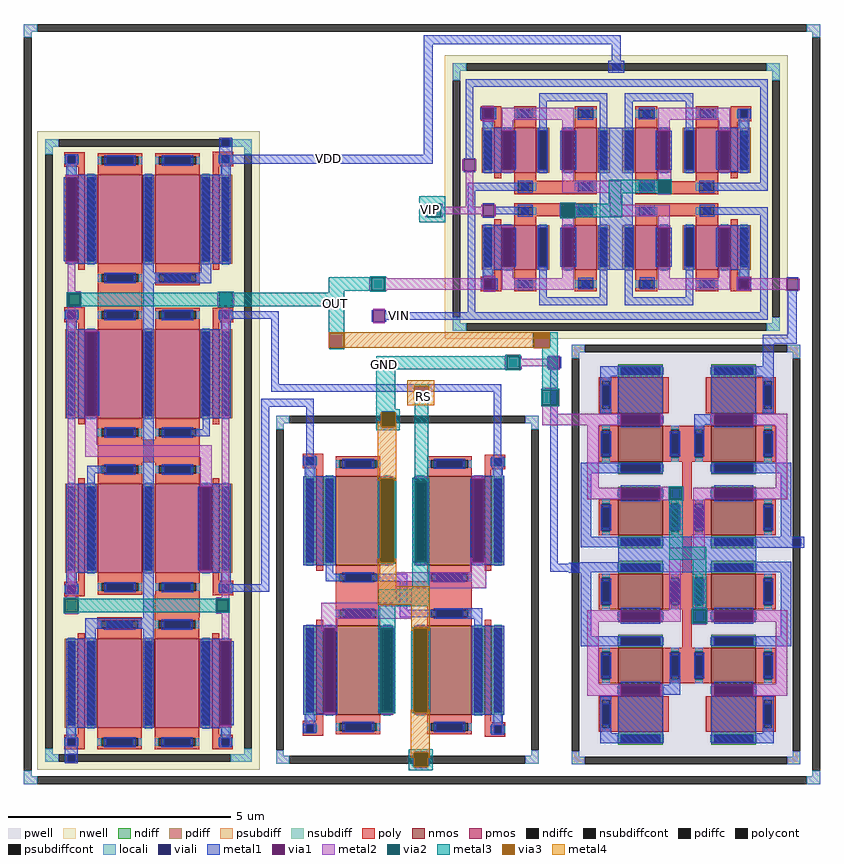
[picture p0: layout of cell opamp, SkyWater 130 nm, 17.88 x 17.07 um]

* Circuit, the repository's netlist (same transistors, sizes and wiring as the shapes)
* NGSPICE file created from opamp.ext - technology: sky130A

.subckt sky130_fd_pr__pfet_01v8_2ZH9AN a_15_n200# a_n15_n226# a_n73_n200# w_n109_n262#
X0 a_15_n200# a_n15_n226# a_n73_n200# w_n109_n262# sky130_fd_pr__pfet_01v8 ad=0.58 pd=4.58 as=0.58 ps=4.58 w=2 l=0.15
.ends

.subckt sky130_fd_pr__pfet_01v8_SDE6B7 a_29_n297# a_n287_n200# a_n229_n297# a_229_n200#
+ a_n29_n200# w_n323_n300#
X0 a_229_n200# a_29_n297# a_n29_n200# w_n323_n300# sky130_fd_pr__pfet_01v8 ad=0.58 pd=4.58 as=0.29 ps=2.29 w=2 l=1
X1 a_n29_n200# a_n229_n297# a_n287_n200# w_n323_n300# sky130_fd_pr__pfet_01v8 ad=0.29 pd=2.29 as=0.58 ps=4.58 w=2 l=1
.ends

.subckt pmoscs vdd d1 d2 d5
Xsky130_fd_pr__pfet_01v8_2ZH9AN_0 d1 d1 d1 vdd sky130_fd_pr__pfet_01v8_2ZH9AN
Xsky130_fd_pr__pfet_01v8_2ZH9AN_1 vdd vdd vdd vdd sky130_fd_pr__pfet_01v8_2ZH9AN
Xsky130_fd_pr__pfet_01v8_2ZH9AN_2 d5 d5 d5 vdd sky130_fd_pr__pfet_01v8_2ZH9AN
Xsky130_fd_pr__pfet_01v8_2ZH9AN_3 d2 d2 d2 vdd sky130_fd_pr__pfet_01v8_2ZH9AN
Xsky130_fd_pr__pfet_01v8_2ZH9AN_4 d1 d1 d1 vdd sky130_fd_pr__pfet_01v8_2ZH9AN
Xsky130_fd_pr__pfet_01v8_2ZH9AN_5 d2 d2 d2 vdd sky130_fd_pr__pfet_01v8_2ZH9AN
Xsky130_fd_pr__pfet_01v8_2ZH9AN_6 vdd vdd vdd vdd sky130_fd_pr__pfet_01v8_2ZH9AN
Xsky130_fd_pr__pfet_01v8_2ZH9AN_7 d5 d5 d5 vdd sky130_fd_pr__pfet_01v8_2ZH9AN
Xsky130_fd_pr__pfet_01v8_SDE6B7_0 vdd d5 d2 vdd vdd vdd sky130_fd_pr__pfet_01v8_SDE6B7
Xsky130_fd_pr__pfet_01v8_SDE6B7_1 d2 d1 d2 d2 vdd vdd sky130_fd_pr__pfet_01v8_SDE6B7
Xsky130_fd_pr__pfet_01v8_SDE6B7_2 d2 d2 d2 d1 vdd vdd sky130_fd_pr__pfet_01v8_SDE6B7
Xsky130_fd_pr__pfet_01v8_SDE6B7_3 d2 vdd vdd d5 vdd vdd sky130_fd_pr__pfet_01v8_SDE6B7
.ends

.subckt sky130_fd_pr__nfet_01v8_ENL4VF a_n80_n126# a_n138_n100# a_80_n100# VSUBS
X0 a_80_n100# a_n80_n126# a_n138_n100# VSUBS sky130_fd_pr__nfet_01v8 ad=0.29 pd=2.58 as=0.29 ps=2.58 w=1 l=0.8
.ends

.subckt sky130_fd_pr__nfet_01v8_9C8FNP a_n304_109# a_n578_21# a_n418_109# a_246_109#
+ a_28_109# a_578_n309# a_360_109# a_n636_109# a_86_21# a_578_109# a_418_21# a_n246_21#
+ a_n86_n309# a_86_n397# a_n246_n397# a_360_n309# a_n86_109# a_n304_n309# a_n418_n309#
+ a_418_n397# a_28_n309# a_n578_n397# a_246_n309# a_n636_n309# VSUBS
X0 a_246_109# a_86_21# a_28_109# VSUBS sky130_fd_pr__nfet_01v8 ad=0.29 pd=2.58 as=0.29 ps=2.58 w=1 l=0.8
X1 a_578_n309# a_418_n397# a_360_n309# VSUBS sky130_fd_pr__nfet_01v8 ad=0.29 pd=2.58 as=0.29 ps=2.58 w=1 l=0.8
X2 a_246_n309# a_86_n397# a_28_n309# VSUBS sky130_fd_pr__nfet_01v8 ad=0.29 pd=2.58 as=0.29 ps=2.58 w=1 l=0.8
X3 a_n418_n309# a_n578_n397# a_n636_n309# VSUBS sky130_fd_pr__nfet_01v8 ad=0.29 pd=2.58 as=0.29 ps=2.58 w=1 l=0.8
X4 a_n86_n309# a_n246_n397# a_n304_n309# VSUBS sky130_fd_pr__nfet_01v8 ad=0.29 pd=2.58 as=0.29 ps=2.58 w=1 l=0.8
X5 a_578_109# a_418_21# a_360_109# VSUBS sky130_fd_pr__nfet_01v8 ad=0.29 pd=2.58 as=0.29 ps=2.58 w=1 l=0.8
X6 a_n418_109# a_n578_21# a_n636_109# VSUBS sky130_fd_pr__nfet_01v8 ad=0.29 pd=2.58 as=0.29 ps=2.58 w=1 l=0.8
X7 a_n86_109# a_n246_21# a_n304_109# VSUBS sky130_fd_pr__nfet_01v8 ad=0.29 pd=2.58 as=0.29 ps=2.58 w=1 l=0.8
.ends

.subckt lnmos gnd out d8
Xsky130_fd_pr__nfet_01v8_ENL4VF_0 d8 d8 d8 gnd sky130_fd_pr__nfet_01v8_ENL4VF
Xsky130_fd_pr__nfet_01v8_ENL4VF_1 out out out gnd sky130_fd_pr__nfet_01v8_ENL4VF
Xsky130_fd_pr__nfet_01v8_ENL4VF_3 out out out gnd sky130_fd_pr__nfet_01v8_ENL4VF
Xsky130_fd_pr__nfet_01v8_ENL4VF_4 d8 d8 d8 gnd sky130_fd_pr__nfet_01v8_ENL4VF
Xsky130_fd_pr__nfet_01v8_9C8FNP_0 d8 d8 gnd out gnd d8 gnd d8 d8 out d8 d8 gnd d8
+ d8 gnd gnd out gnd d8 gnd d8 d8 out gnd sky130_fd_pr__nfet_01v8_9C8FNP
.ends

.subckt sky130_fd_pr__pfet_01v8_V8A8AU a_n86_n318# a_n86_118# a_358_n415# a_300_n318#
+ a_n244_n318# a_n458_n415# a_86_21# w_n552_n418# a_28_n318# a_n358_n318# a_n458_21#
+ a_186_n318# a_300_118# a_n516_n318# a_358_21# a_n186_21# a_28_118# a_458_n318# a_86_n415#
+ a_n186_n415# a_n244_118# a_n516_118# w_n552_18# a_n358_118# a_458_118# a_186_118#
X0 a_458_118# a_358_21# a_300_118# w_n552_18# sky130_fd_pr__pfet_01v8 ad=0.29 pd=2.58 as=0.29 ps=2.58 w=1 l=0.5
X1 a_186_118# a_86_21# a_28_118# w_n552_18# sky130_fd_pr__pfet_01v8 ad=0.29 pd=2.58 as=0.29 ps=2.58 w=1 l=0.5
X2 a_n358_n318# a_n458_n415# a_n516_n318# w_n552_n418# sky130_fd_pr__pfet_01v8 ad=0.29 pd=2.58 as=0.29 ps=2.58 w=1 l=0.5
X3 a_n86_118# a_n186_21# a_n244_118# w_n552_18# sky130_fd_pr__pfet_01v8 ad=0.29 pd=2.58 as=0.29 ps=2.58 w=1 l=0.5
X4 a_458_n318# a_358_n415# a_300_n318# w_n552_n418# sky130_fd_pr__pfet_01v8 ad=0.29 pd=2.58 as=0.29 ps=2.58 w=1 l=0.5
X5 a_186_n318# a_86_n415# a_28_n318# w_n552_n418# sky130_fd_pr__pfet_01v8 ad=0.29 pd=2.58 as=0.29 ps=2.58 w=1 l=0.5
X6 a_n358_118# a_n458_21# a_n516_118# w_n552_18# sky130_fd_pr__pfet_01v8 ad=0.29 pd=2.58 as=0.29 ps=2.58 w=1 l=0.5
X7 a_n86_n318# a_n186_n415# a_n244_n318# w_n552_n418# sky130_fd_pr__pfet_01v8 ad=0.29 pd=2.58 as=0.29 ps=2.58 w=1 l=0.5
.ends

.subckt sky130_fd_pr__pfet_01v8_2XUZHN a_n73_n100# w_n109_n162# a_15_n100# a_n15_n126#
X0 a_15_n100# a_n15_n126# a_n73_n100# w_n109_n162# sky130_fd_pr__pfet_01v8 ad=0.29 pd=2.58 as=0.29 ps=2.58 w=1 l=0.15
.ends

.subckt lpmos d6 vin vip out vdd
Xsky130_fd_pr__pfet_01v8_V8A8AU_0 m1_1936_n33# m1_1936_n33# vin m1_1936_n33# out vip
+ vip vdd m1_1936_n33# m1_1936_n33# vin d6 m1_1936_n33# out vip vin m1_1936_n33# d6
+ vin vip d6 d6 vdd m1_1936_n33# out out sky130_fd_pr__pfet_01v8_V8A8AU
Xsky130_fd_pr__pfet_01v8_2XUZHN_1 out vdd out out sky130_fd_pr__pfet_01v8_2XUZHN
Xsky130_fd_pr__pfet_01v8_2XUZHN_5 d6 vdd d6 d6 sky130_fd_pr__pfet_01v8_2XUZHN
Xsky130_fd_pr__pfet_01v8_2XUZHN_6 out vdd out out sky130_fd_pr__pfet_01v8_2XUZHN
Xsky130_fd_pr__pfet_01v8_2XUZHN_7 d6 vdd d6 d6 sky130_fd_pr__pfet_01v8_2XUZHN
.ends

.subckt sky130_fd_pr__nfet_01v8_46AAJJ a_100_n200# a_n158_n200# a_n100_n288# VSUBS
X0 a_100_n200# a_n100_n288# a_n158_n200# VSUBS sky130_fd_pr__nfet_01v8 ad=0.58 pd=4.58 as=0.58 ps=4.58 w=2 l=1
.ends

.subckt sky130_fd_pr__nfet_01v8_TC9PLT a_15_n200# a_n15_n226# a_n73_n200# VSUBS
X0 a_15_n200# a_n15_n226# a_n73_n200# VSUBS sky130_fd_pr__nfet_01v8 ad=0.58 pd=4.58 as=0.58 ps=4.58 w=2 l=0.15
.ends

.subckt nmoscs gnd rs d4 d3
Xsky130_fd_pr__nfet_01v8_46AAJJ_0 gnd d3 d3 gnd sky130_fd_pr__nfet_01v8_46AAJJ
Xsky130_fd_pr__nfet_01v8_46AAJJ_1 d4 rs d3 gnd sky130_fd_pr__nfet_01v8_46AAJJ
Xsky130_fd_pr__nfet_01v8_46AAJJ_2 rs d4 d3 gnd sky130_fd_pr__nfet_01v8_46AAJJ
Xsky130_fd_pr__nfet_01v8_46AAJJ_3 d3 gnd d3 gnd sky130_fd_pr__nfet_01v8_46AAJJ
Xsky130_fd_pr__nfet_01v8_TC9PLT_4 d4 d4 d4 gnd sky130_fd_pr__nfet_01v8_TC9PLT
Xsky130_fd_pr__nfet_01v8_TC9PLT_5 d3 d3 d3 gnd sky130_fd_pr__nfet_01v8_TC9PLT
Xsky130_fd_pr__nfet_01v8_TC9PLT_6 d3 d3 d3 gnd sky130_fd_pr__nfet_01v8_TC9PLT
Xsky130_fd_pr__nfet_01v8_TC9PLT_7 d4 d4 d4 gnd sky130_fd_pr__nfet_01v8_TC9PLT
.ends

.subckt opamp VDD GND OUT RS VIN VIP
Xpmoscs_0 VDD pmoscs_0/d1 pmoscs_0/d2 OUT pmoscs
Xlnmos_0 GND OUT lpmos_0/d6 lnmos
Xlpmos_0 lpmos_0/d6 VIN VIP OUT VDD lpmos
Xnmoscs_0 GND RS pmoscs_0/d2 pmoscs_0/d1 nmoscs
.ends

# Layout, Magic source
magic
tech sky130A
magscale 1 2
<< psubdiff >>
rect -1070 4424 -1010 4458
rect 2445 4424 2505 4458
rect -1070 4398 -1036 4424
rect -1070 1079 -1036 1105
rect 2471 4398 2505 4424
rect 2471 1079 2505 1105
rect -1070 1045 -1010 1079
rect 2445 1045 2505 1079
<< psubdiffcont >>
rect -1010 4424 2445 4458
rect -1070 1105 -1036 4398
rect 2471 1105 2505 4398
rect -1010 1045 2445 1079
<< locali >>
rect -1070 4424 -1010 4458
rect 2445 4424 2505 4458
rect -1070 4398 -1036 4424
rect -1070 1079 -1036 1105
rect 2471 4398 2505 4424
rect 2471 1079 2505 1105
rect -1070 1045 -1010 1079
rect 2445 1045 2505 1079
<< metal1 >>
rect 726 4368 1610 4408
rect 726 3870 766 4368
rect 1570 4247 1610 4368
rect 978 4030 988 4082
rect 1040 4030 1050 4082
rect -149 3869 766 3870
rect -182 3835 766 3869
rect -149 3830 766 3835
rect 2130 3317 2194 3324
rect 985 3265 995 3317
rect 1047 3265 1057 3317
rect 2130 3265 2137 3317
rect 2189 3265 2194 3317
rect 2130 3259 2194 3265
rect 2355 3315 2407 3321
rect 2355 3257 2407 3263
rect -182 3134 74 3168
rect 40 2840 74 3134
rect 492 3121 498 3173
rect 550 3164 556 3173
rect 550 3130 957 3164
rect 550 3121 556 3130
rect 2361 3062 2401 3257
rect 2248 3022 2401 3062
rect 1279 2911 1285 2963
rect 1337 2911 1343 2963
rect 40 2806 1074 2840
rect -4 2739 232 2774
rect -4 1942 31 2739
rect 197 2478 232 2739
rect 1040 2474 1074 2806
rect 1294 2033 1328 2911
rect 2248 2876 2297 3022
rect 1294 1999 1422 2033
rect -181 1908 31 1942
<< via1 >>
rect 988 4030 1040 4082
rect 995 3265 1047 3317
rect 2137 3265 2189 3317
rect 2355 3263 2407 3315
rect 498 3121 550 3173
rect 1285 2911 1337 2963
<< metal2 >>
rect 988 4082 1040 4092
rect 988 4020 1040 4030
rect 732 3591 741 3651
rect 801 3638 810 3651
rect 801 3604 949 3638
rect 801 3591 810 3604
rect 481 3261 490 3321
rect 550 3317 559 3321
rect 995 3317 1047 3327
rect 550 3265 995 3317
rect 550 3261 559 3265
rect 995 3255 1047 3265
rect 2130 3317 2194 3324
rect 2130 3265 2137 3317
rect 2189 3315 2365 3317
rect 2189 3265 2355 3315
rect 2130 3259 2194 3265
rect 2349 3263 2355 3265
rect 2407 3263 2413 3315
rect 498 3173 550 3179
rect 498 3115 550 3121
rect 1088 2907 1097 2967
rect 1157 2954 1166 2967
rect 1285 2963 1337 2969
rect 1157 2920 1285 2954
rect 1157 2907 1166 2920
rect 1285 2905 1337 2911
rect 1258 2816 1328 2825
rect 1258 2708 1328 2746
rect 1258 2656 1558 2708
<< via2 >>
rect 741 3591 801 3651
rect 490 3261 550 3321
rect 1097 2907 1157 2967
rect 1258 2746 1328 2816
<< metal3 >>
rect 706 3651 822 3684
rect 706 3591 741 3651
rect 801 3591 822 3651
rect 706 3568 822 3591
rect 485 3321 555 3326
rect 299 3261 490 3321
rect 550 3261 555 3321
rect 299 3251 369 3261
rect 485 3256 555 3261
rect -194 3191 369 3251
rect 299 3072 369 3191
rect 299 3004 300 3072
rect 368 3004 369 3072
rect 299 3003 369 3004
rect 1215 3003 1221 3073
rect 1291 3003 1328 3073
rect 300 2998 368 3003
rect 1092 2967 1162 2972
rect 513 2907 1097 2967
rect 1157 2907 1162 2967
rect 513 2728 597 2907
rect 1092 2902 1162 2907
rect 684 2838 745 2840
rect 683 2832 747 2838
rect 1258 2821 1328 3003
rect 683 2762 747 2768
rect 1253 2816 1333 2821
rect 684 2404 745 2762
rect 1253 2746 1258 2816
rect 1328 2746 1333 2816
rect 1253 2741 1333 2746
<< via3 >>
rect 300 3004 368 3072
rect 1221 3003 1291 3073
rect 683 2768 747 2832
<< metal4 >>
rect 1220 3073 1292 3074
rect 299 3072 1221 3073
rect 299 3004 300 3072
rect 368 3004 1221 3072
rect 299 3003 1221 3004
rect 1291 3003 1292 3073
rect 1220 3002 1292 3003
rect 652 2832 772 2858
rect 652 2768 683 2832
rect 747 2768 772 2832
rect 652 2745 772 2768
use lnmos  lnmos_0
transform 0 -1 2305 1 0 1439
box -306 -130 1578 929
use lpmos  lpmos_0
transform 1 0 -693 0 1 3229
box 1513 -185 3054 1089
use nmoscs  nmoscs_0
transform 1 0 -2739 0 1 1178
box 2801 -71 3980 1550
use pmoscs  pmoscs_0
transform 1 0 -778 0 1 1055
box -232 53 767 2922
<< labels >>
flabel metal1 299 3855 299 3855 0 FreeSans 1600 0 0 0 VDD
port 0 nsew
flabel metal3 547 2929 547 2929 0 FreeSans 1600 0 0 0 GND
port 1 nsew
flabel metal3 330 3202 330 3202 0 FreeSans 1600 0 0 0 OUT
port 2 nsew
flabel via3 722 2786 722 2786 0 FreeSans 1600 0 0 0 RS
port 3 nsew
flabel metal1 617 3147 617 3147 0 FreeSans 1600 0 0 0 VIN
port 4 nsew
flabel via2 757 3627 757 3627 0 FreeSans 1600 0 0 0 VIP
port 5 nsew
<< end >>

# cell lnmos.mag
magic
tech sky130A
magscale 1 2
<< pwell >>
rect -306 -112 1578 916
<< psubdiff >>
rect -306 882 -246 916
rect 1518 882 1578 916
rect -306 856 -272 882
rect 1544 856 1578 882
rect -306 -78 -272 -52
rect 1544 -78 1578 -52
rect -306 -112 -246 -78
rect 1518 -112 1578 -78
<< psubdiffcont >>
rect -246 882 1518 916
rect -306 -52 -272 856
rect 1544 -52 1578 856
rect -246 -112 1518 -78
<< poly >>
rect -160 778 0 794
rect -160 744 -144 778
rect -16 744 0 778
rect -160 718 0 744
rect 1272 778 1432 794
rect 1272 744 1288 778
rect 1416 744 1432 778
rect 1272 717 1432 744
rect 58 376 1214 418
rect -160 50 0 77
rect -160 16 -144 50
rect -16 16 0 50
rect -160 0 0 16
rect 1272 50 1432 77
rect 1272 16 1288 50
rect 1416 16 1432 50
rect 1272 0 1432 16
<< polycont >>
rect -144 744 -16 778
rect 1288 744 1416 778
rect -144 16 -16 50
rect 1288 16 1416 50
<< locali >>
rect -306 882 -246 916
rect 1518 882 1578 916
rect -306 856 -272 882
rect 1544 856 1578 882
rect -160 744 -144 778
rect -16 744 0 778
rect 1272 744 1288 778
rect 1416 744 1432 778
rect -160 16 -144 50
rect -16 16 0 50
rect 1272 16 1288 50
rect 1416 16 1432 50
rect -306 -78 -272 -52
rect 1544 -78 1578 -52
rect -306 -112 -246 -78
rect 1518 -112 1578 -78
<< viali >>
rect 560 916 594 917
rect 560 883 594 916
rect -125 744 -35 778
rect 1307 744 1397 778
rect -125 16 -35 50
rect 1307 16 1397 50
rect 674 -78 710 -77
rect 674 -112 710 -78
rect 674 -113 710 -112
<< metal1 >>
rect 554 917 600 929
rect 554 883 560 917
rect 594 883 600 917
rect 554 874 600 883
rect 224 828 602 874
rect -212 778 0 786
rect -212 744 -125 778
rect -35 744 0 778
rect -212 737 0 744
rect -212 707 -166 737
rect -212 694 56 707
rect 224 697 270 828
rect 556 706 602 828
rect 670 828 1048 874
rect 670 706 716 828
rect 556 694 716 706
rect 1002 698 1048 828
rect 1272 778 1483 786
rect 1272 744 1307 778
rect 1397 744 1483 778
rect 1272 737 1483 744
rect 1438 708 1483 737
rect 1217 694 1485 708
rect -212 518 3 694
rect 55 518 65 694
rect 325 518 335 694
rect 387 518 397 694
rect -212 505 56 518
rect 6 474 52 505
rect 6 428 86 474
rect -212 276 56 289
rect -212 100 3 276
rect 55 100 65 276
rect 325 100 335 276
rect 387 100 397 276
rect -212 87 56 100
rect -212 57 -166 87
rect -212 50 0 57
rect -212 16 -125 50
rect -35 16 0 50
rect -212 8 0 16
rect 224 -24 270 94
rect 557 87 716 694
rect 875 518 885 694
rect 937 518 947 694
rect 1207 518 1217 694
rect 1269 518 1485 694
rect 1217 506 1485 518
rect 1186 320 1266 366
rect 1220 289 1266 320
rect 1216 276 1484 289
rect 875 100 885 276
rect 937 100 947 276
rect 1207 100 1217 276
rect 1269 100 1484 276
rect 557 -24 603 87
rect 224 -70 603 -24
rect 668 -24 716 87
rect 1002 -24 1048 95
rect 1216 87 1484 100
rect 1438 57 1483 87
rect 1272 50 1483 57
rect 1272 16 1307 50
rect 1397 16 1483 50
rect 1272 8 1483 16
rect 668 -70 1048 -24
rect 668 -77 716 -70
rect 668 -113 674 -77
rect 710 -113 716 -77
rect 668 -130 716 -113
<< via1 >>
rect 3 518 55 694
rect 335 518 387 694
rect 3 100 55 276
rect 335 100 387 276
rect 885 518 937 694
rect 1217 518 1269 694
rect 885 100 937 276
rect 1217 100 1269 276
<< metal2 >>
rect 3 794 387 846
rect 3 694 55 794
rect 3 508 55 518
rect 335 694 387 794
rect 885 794 1269 846
rect 885 694 937 794
rect 335 477 387 518
rect 881 518 885 526
rect 1217 694 1269 794
rect 937 518 941 526
rect 335 425 666 477
rect 322 311 331 371
rect 391 311 400 371
rect 614 369 666 425
rect 881 475 941 518
rect 1217 506 1269 518
rect 1226 503 1260 506
rect 881 419 883 475
rect 939 419 941 475
rect 881 417 941 419
rect 883 410 939 417
rect 614 317 937 369
rect 3 276 55 286
rect 3 0 55 100
rect 335 276 387 311
rect 335 0 387 100
rect 3 -52 387 0
rect 885 276 937 317
rect 1226 288 1260 292
rect 885 0 937 100
rect 1217 286 1268 288
rect 1217 276 1269 286
rect 1217 0 1269 100
rect 885 -52 1269 0
<< via2 >>
rect 331 311 391 371
rect 883 419 939 475
<< metal3 >>
rect 878 477 944 480
rect 612 475 944 477
rect 612 419 883 475
rect 939 419 944 475
rect 612 417 944 419
rect 326 371 396 376
rect 612 371 672 417
rect 878 414 944 417
rect 326 311 331 371
rect 391 311 672 371
rect 326 306 396 311
use sky130_fd_pr__nfet_01v8_9C8FNP  sky130_fd_pr__nfet_01v8_9C8FNP_0
transform 1 0 636 0 1 397
box -636 -397 636 397
use sky130_fd_pr__nfet_01v8_ENL4VF  sky130_fd_pr__nfet_01v8_ENL4VF_0
transform 1 0 -80 0 1 606
box -138 -126 138 126
use sky130_fd_pr__nfet_01v8_ENL4VF  sky130_fd_pr__nfet_01v8_ENL4VF_1
transform 1 0 -80 0 1 188
box -138 -126 138 126
use sky130_fd_pr__nfet_01v8_ENL4VF  sky130_fd_pr__nfet_01v8_ENL4VF_3
transform 1 0 1352 0 1 606
box -138 -126 138 126
use sky130_fd_pr__nfet_01v8_ENL4VF  sky130_fd_pr__nfet_01v8_ENL4VF_4
transform 1 0 1352 0 1 188
box -138 -126 138 126
<< labels >>
flabel metal1 573 832 573 832 0 FreeSans 1600 0 0 0 gnd
port 0 nsew
flabel metal2 1231 805 1231 805 0 FreeSans 1600 0 0 0 out
port 1 nsew
flabel metal2 29 756 29 756 0 FreeSans 1600 0 0 0 d8
port 2 nsew
<< end >>

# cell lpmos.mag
magic
tech sky130A
magscale 1 2
<< nwell >>
rect 1513 -185 3054 1089
<< nsubdiff >>
rect 1549 1019 1609 1053
rect 2958 1019 3018 1053
rect 1549 977 1583 1019
rect 2984 977 3018 1019
rect 1549 -115 1583 -89
rect 2984 -115 3018 -89
rect 1549 -149 1609 -115
rect 2958 -149 3018 -115
<< nsubdiffcont >>
rect 1609 1019 2958 1053
rect 1549 -89 1583 977
rect 2984 -89 3018 977
rect 1609 -149 2958 -115
<< poly >>
rect 1674 844 1766 860
rect 1674 810 1690 844
rect 1724 810 1766 844
rect 1674 794 1766 810
rect 1736 785 1766 794
rect 2798 843 2890 859
rect 2798 809 2840 843
rect 2874 809 2890 843
rect 2798 793 2890 809
rect 2798 784 2828 793
rect 1924 465 2096 524
rect 2468 465 2640 522
rect 1924 365 2096 423
rect 2468 365 2640 423
rect 1736 95 1766 104
rect 1674 79 1766 95
rect 1674 45 1690 79
rect 1724 45 1766 79
rect 1674 29 1766 45
rect 2798 95 2828 104
rect 2798 79 2890 95
rect 2798 45 2840 79
rect 2874 45 2890 79
rect 2798 29 2890 45
<< polycont >>
rect 1690 810 1724 844
rect 2840 809 2874 843
rect 1690 45 1724 79
rect 2840 45 2874 79
<< locali >>
rect 1549 1019 1609 1053
rect 2958 1019 3018 1053
rect 1549 977 1583 1019
rect 2984 977 3018 1019
rect 1674 810 1690 844
rect 1724 810 1740 844
rect 1690 746 1724 810
rect 2824 809 2840 843
rect 2874 809 2890 843
rect 2840 734 2874 809
rect 1690 79 1724 141
rect 2840 79 2874 145
rect 1674 45 1690 79
rect 1724 45 1740 79
rect 2824 45 2840 79
rect 2874 45 2890 79
rect 1549 -115 1583 -89
rect 2984 -115 3018 -89
rect 1549 -149 1609 -115
rect 2958 -149 3018 -115
<< viali >>
rect 2264 1019 2302 1053
rect 1690 810 1724 844
rect 2840 809 2874 843
rect 1690 45 1724 79
rect 2840 45 2874 79
<< metal1 >>
rect 2247 1053 2318 1063
rect 2247 1019 2264 1053
rect 2302 1019 2318 1053
rect 2247 1009 2318 1019
rect 1606 947 2964 981
rect 1606 627 1640 947
rect 1936 883 2242 917
rect 1678 844 1736 850
rect 1678 810 1690 844
rect 1724 810 1736 844
rect 1678 804 1736 810
rect 1684 762 1730 804
rect 1836 799 1907 852
rect 1684 750 1821 762
rect 1936 759 1970 883
rect 2109 799 2180 852
rect 2208 762 2242 883
rect 2322 883 2628 917
rect 2322 762 2356 883
rect 2384 801 2455 854
rect 1597 621 1649 627
rect 1597 563 1649 569
rect 1684 574 1769 750
rect 1821 574 1831 750
rect 2031 574 2041 750
rect 2093 574 2103 750
rect 1684 561 1821 574
rect 1840 515 1907 525
rect 1616 481 1907 515
rect 1616 -65 1650 481
rect 1840 472 1907 481
rect 2111 471 2178 524
rect 1683 418 1735 424
rect 1841 409 1908 417
rect 1735 375 1908 409
rect 1683 360 1735 366
rect 1841 364 1908 375
rect 2110 364 2177 417
rect 1684 314 1821 327
rect 1684 138 1769 314
rect 1821 138 1831 314
rect 2031 138 2041 314
rect 2093 138 2103 314
rect 1684 126 1821 138
rect 1684 85 1730 126
rect 1678 79 1736 85
rect 1678 45 1690 79
rect 1724 45 1736 79
rect 1678 39 1736 45
rect 1840 34 1907 87
rect 1936 1 1970 130
rect 2208 126 2356 762
rect 2594 752 2628 883
rect 2660 799 2731 852
rect 2828 843 2886 849
rect 2828 809 2840 843
rect 2874 809 2886 843
rect 2828 803 2886 809
rect 2834 762 2880 803
rect 2743 750 2880 762
rect 2461 574 2471 750
rect 2523 574 2533 750
rect 2733 574 2743 750
rect 2795 574 2880 750
rect 2743 565 2880 574
rect 2389 472 2456 525
rect 2656 515 2723 524
rect 2930 515 2964 947
rect 2656 481 2964 515
rect 2656 471 2723 481
rect 2388 365 2455 418
rect 2658 407 2725 417
rect 2658 373 2963 407
rect 2658 364 2725 373
rect 2743 314 2880 326
rect 2461 138 2471 314
rect 2523 138 2533 314
rect 2733 138 2743 314
rect 2795 138 2880 314
rect 2113 37 2180 90
rect 2208 1 2242 126
rect 1936 -33 2242 1
rect 2322 1 2356 126
rect 2388 38 2455 91
rect 2594 1 2628 132
rect 2743 125 2880 138
rect 2657 35 2724 88
rect 2834 85 2880 125
rect 2828 79 2886 85
rect 2828 45 2840 79
rect 2874 45 2886 79
rect 2828 39 2886 45
rect 2322 -33 2628 1
rect 2929 -65 2963 373
rect 1616 -99 2963 -65
<< via1 >>
rect 1597 569 1649 621
rect 1769 574 1821 750
rect 2041 574 2093 750
rect 1683 366 1735 418
rect 1769 138 1821 314
rect 2041 138 2093 314
rect 2471 574 2523 750
rect 2743 574 2795 750
rect 2471 138 2523 314
rect 2743 138 2795 314
<< metal2 >>
rect 1769 800 2093 852
rect 1769 750 1821 800
rect 1591 569 1597 621
rect 1649 569 1655 621
rect 1606 409 1640 569
rect 1769 564 1821 574
rect 2041 750 2093 800
rect 2041 524 2093 574
rect 2471 800 2795 852
rect 2471 750 2523 800
rect 2471 572 2523 574
rect 2743 750 2795 800
rect 2469 527 2529 572
rect 2743 564 2795 574
rect 2041 472 2305 524
rect 1677 409 1683 418
rect 1606 375 1683 409
rect 1677 366 1683 375
rect 1735 366 1741 418
rect 2028 361 2037 421
rect 2097 361 2106 421
rect 2253 418 2305 472
rect 2469 471 2471 527
rect 2527 471 2529 527
rect 2469 469 2529 471
rect 2471 462 2527 469
rect 2253 366 2523 418
rect 1769 314 1821 324
rect 1769 87 1821 138
rect 2041 314 2093 361
rect 2041 87 2093 138
rect 1769 35 2093 87
rect 2471 314 2523 366
rect 2471 87 2523 138
rect 2743 314 2795 324
rect 2743 87 2795 138
rect 2471 35 2795 87
<< via2 >>
rect 2037 361 2097 421
rect 2471 471 2527 527
<< metal3 >>
rect 2466 529 2532 532
rect 2249 527 2532 529
rect 2249 471 2471 527
rect 2527 471 2532 527
rect 2249 469 2532 471
rect 2032 421 2102 426
rect 2249 421 2309 469
rect 2466 466 2532 469
rect 2032 361 2037 421
rect 2097 361 2309 421
rect 2032 356 2102 361
use sky130_fd_pr__pfet_01v8_2XUZHN  sky130_fd_pr__pfet_01v8_2XUZHN_1
transform 1 0 1751 0 1 226
box -109 -162 109 162
use sky130_fd_pr__pfet_01v8_2XUZHN  sky130_fd_pr__pfet_01v8_2XUZHN_5
transform 1 0 1751 0 1 662
box -109 -162 109 162
use sky130_fd_pr__pfet_01v8_2XUZHN  sky130_fd_pr__pfet_01v8_2XUZHN_6
transform 1 0 2813 0 1 662
box -109 -162 109 162
use sky130_fd_pr__pfet_01v8_2XUZHN  sky130_fd_pr__pfet_01v8_2XUZHN_7
transform 1 0 2813 0 1 226
box -109 -162 109 162
use sky130_fd_pr__pfet_01v8_V8A8AU  sky130_fd_pr__pfet_01v8_V8A8AU_0
transform 1 0 2282 0 1 444
box -552 -418 552 418
<< labels >>
flabel metal2 1795 770 1795 770 0 FreeSans 1280 0 0 0 d6
port 0 nsew
flabel metal1 1824 495 1824 495 0 FreeSans 1280 0 0 0 vin
port 1 nsew
flabel metal1 2771 493 2771 493 0 FreeSans 1280 0 0 0 vip
port 2 nsew
flabel metal2 2769 788 2769 788 0 FreeSans 1280 0 0 0 out
port 3 nsew
flabel metal1 2281 1015 2281 1015 0 FreeSans 1280 0 0 0 vdd
port 4 nsew
<< end >>

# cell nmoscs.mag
magic
tech sky130A
magscale 1 2
<< psubdiff >>
rect 2801 1486 2861 1520
rect 3920 1486 3980 1520
rect 2801 1460 2835 1486
rect 3946 1460 3980 1486
rect 2801 -7 2835 19
rect 3946 -7 3980 19
rect 2801 -41 2861 -7
rect 3920 -41 3980 -7
<< psubdiffcont >>
rect 2861 1486 3920 1520
rect 2801 19 2835 1460
rect 3946 19 3980 1460
rect 2861 -41 3920 -7
<< poly >>
rect 2920 1334 3012 1350
rect 2920 1300 2936 1334
rect 2970 1300 3012 1334
rect 2920 1284 3012 1300
rect 2982 1250 3012 1284
rect 3738 1330 3830 1346
rect 3738 1296 3780 1330
rect 3814 1296 3830 1330
rect 3738 1280 3830 1296
rect 3738 1246 3768 1280
rect 3070 666 3680 778
rect 2982 150 3012 184
rect 2920 134 3012 150
rect 2920 100 2936 134
rect 2970 100 3012 134
rect 2920 84 3012 100
rect 3738 145 3768 179
rect 3738 129 3830 145
rect 3738 95 3780 129
rect 3814 95 3830 129
rect 3738 79 3830 95
<< polycont >>
rect 2936 1300 2970 1334
rect 3780 1296 3814 1330
rect 2936 100 2970 134
rect 3780 95 3814 129
<< locali >>
rect 2801 1486 2861 1520
rect 3920 1486 3980 1520
rect 2801 1460 2835 1486
rect 3946 1460 3980 1486
rect 2920 1300 2936 1334
rect 2970 1300 2986 1334
rect 2936 1250 2970 1300
rect 3764 1296 3780 1330
rect 3814 1296 3830 1330
rect 3780 1246 3814 1296
rect 2936 134 2970 184
rect 2920 100 2936 134
rect 2970 100 2986 134
rect 3780 129 3814 179
rect 3764 95 3780 129
rect 3814 95 3830 129
rect 2801 -7 2835 19
rect 3946 -7 3980 19
rect 2801 -41 2861 -7
rect 3920 -41 3980 -7
<< viali >>
rect 3282 1486 3316 1520
rect 2936 1300 2970 1334
rect 3780 1296 3814 1330
rect 2936 100 2970 134
rect 3780 95 3814 129
rect 3433 -41 3470 -7
<< metal1 >>
rect 3269 1477 3279 1529
rect 3331 1477 3341 1529
rect 2924 1334 2982 1340
rect 2924 1300 2936 1334
rect 2970 1300 2982 1334
rect 2924 1294 2982 1300
rect 3768 1330 3826 1336
rect 3768 1296 3780 1330
rect 3814 1296 3826 1330
rect 2930 1250 2976 1294
rect 3768 1290 3826 1296
rect 3774 1251 3820 1290
rect 2924 850 3070 1249
rect 3680 1238 3826 1251
rect 3263 862 3273 1238
rect 3325 862 3335 1238
rect 3415 862 3425 1238
rect 3477 862 3487 1238
rect 3673 862 3683 1238
rect 3735 862 3826 1238
rect 3680 852 3826 862
rect 3024 812 3058 850
rect 3024 778 3108 812
rect 3238 778 3391 812
rect 3357 650 3391 778
rect 3357 616 3517 650
rect 3648 610 3726 656
rect 2924 566 3077 579
rect 3692 578 3726 610
rect 2924 190 3015 566
rect 3067 190 3077 566
rect 3263 190 3273 566
rect 3325 190 3335 566
rect 3415 190 3425 566
rect 3477 190 3487 566
rect 2924 179 3077 190
rect 3680 179 3826 578
rect 2930 140 2976 179
rect 2924 134 2982 140
rect 3774 135 3820 179
rect 2924 100 2936 134
rect 2970 100 2982 134
rect 2924 94 2982 100
rect 3768 129 3826 135
rect 3768 95 3780 129
rect 3814 95 3826 129
rect 3768 89 3826 95
rect 3416 -50 3426 2
rect 3478 -50 3488 2
<< via1 >>
rect 3279 1520 3331 1529
rect 3279 1486 3282 1520
rect 3282 1486 3316 1520
rect 3316 1486 3331 1520
rect 3279 1477 3331 1486
rect 3273 862 3325 1238
rect 3425 862 3477 1238
rect 3683 862 3735 1238
rect 3015 190 3067 566
rect 3273 190 3325 566
rect 3425 190 3477 566
rect 3426 -7 3478 2
rect 3426 -41 3433 -7
rect 3433 -41 3470 -7
rect 3470 -41 3478 -7
rect 3426 -50 3478 -41
<< metal2 >>
rect 3277 1531 3333 1541
rect 3277 1465 3333 1475
rect 3271 1238 3327 1248
rect 3271 852 3327 862
rect 3423 1238 3479 1248
rect 3683 1238 3735 1248
rect 3423 852 3479 862
rect 3673 862 3683 884
rect 3735 862 3745 884
rect 3673 818 3745 862
rect 3339 746 3745 818
rect 3339 681 3411 746
rect 3005 609 3411 681
rect 3005 566 3077 609
rect 3005 553 3015 566
rect 3067 553 3077 566
rect 3271 566 3327 576
rect 3015 180 3067 190
rect 3271 180 3327 190
rect 3423 566 3479 576
rect 3423 180 3479 190
rect 3424 4 3480 14
rect 3424 -62 3480 -52
<< via2 >>
rect 3277 1529 3333 1531
rect 3277 1477 3279 1529
rect 3279 1477 3331 1529
rect 3331 1477 3333 1529
rect 3277 1475 3333 1477
rect 3271 862 3273 1238
rect 3273 862 3325 1238
rect 3325 862 3327 1238
rect 3423 862 3425 1238
rect 3425 862 3477 1238
rect 3477 862 3479 1238
rect 3271 190 3273 566
rect 3273 190 3325 566
rect 3325 190 3327 566
rect 3423 190 3425 566
rect 3425 190 3477 566
rect 3477 190 3479 566
rect 3424 2 3480 4
rect 3424 -50 3426 2
rect 3426 -50 3478 2
rect 3478 -50 3480 2
rect 3424 -52 3480 -50
<< metal3 >>
rect 3252 1536 3357 1550
rect 3252 1472 3273 1536
rect 3337 1472 3357 1536
rect 3252 1456 3357 1472
rect 3261 1238 3337 1243
rect 3413 1238 3489 1243
rect 3257 862 3267 1238
rect 3331 862 3341 1238
rect 3413 862 3423 1238
rect 3479 862 3489 1238
rect 3261 857 3337 862
rect 3413 742 3489 862
rect 3261 666 3489 742
rect 3261 566 3337 666
rect 3413 566 3489 571
rect 3261 190 3271 566
rect 3327 190 3337 566
rect 3409 190 3419 566
rect 3483 190 3493 566
rect 3261 185 3337 190
rect 3413 185 3489 190
rect 3396 8 3505 24
rect 3396 -56 3420 8
rect 3484 -56 3505 8
rect 3396 -71 3505 -56
<< via3 >>
rect 3273 1531 3337 1536
rect 3273 1475 3277 1531
rect 3277 1475 3333 1531
rect 3333 1475 3337 1531
rect 3273 1472 3337 1475
rect 3267 862 3271 1238
rect 3271 862 3327 1238
rect 3327 862 3331 1238
rect 3419 190 3423 566
rect 3423 190 3479 566
rect 3479 190 3483 566
rect 3420 4 3484 8
rect 3420 -52 3424 4
rect 3424 -52 3480 4
rect 3480 -52 3484 4
rect 3420 -56 3484 -52
<< metal4 >>
rect 3272 1536 3338 1537
rect 3272 1494 3273 1536
rect 3257 1472 3273 1494
rect 3337 1494 3338 1536
rect 3337 1472 3341 1494
rect 3257 1238 3341 1472
rect 3257 1229 3267 1238
rect 3266 878 3267 1229
rect 3257 862 3267 878
rect 3331 1229 3341 1238
rect 3331 878 3332 1229
rect 3331 862 3341 878
rect 3257 756 3341 862
rect 3257 672 3492 756
rect 3408 566 3492 672
rect 3408 556 3419 566
rect 3418 201 3419 556
rect 3407 190 3419 201
rect 3483 556 3492 566
rect 3483 201 3484 556
rect 3483 190 3492 201
rect 3407 8 3492 190
rect 3407 -15 3420 8
rect 3419 -56 3420 -15
rect 3484 -15 3492 8
rect 3484 -56 3485 -15
rect 3419 -57 3485 -56
use sky130_fd_pr__nfet_01v8_46AAJJ  sky130_fd_pr__nfet_01v8_46AAJJ_0
transform 1 0 3170 0 1 1050
box -158 -288 158 288
use sky130_fd_pr__nfet_01v8_46AAJJ  sky130_fd_pr__nfet_01v8_46AAJJ_1
transform 1 0 3580 0 1 1050
box -158 -288 158 288
use sky130_fd_pr__nfet_01v8_46AAJJ  sky130_fd_pr__nfet_01v8_46AAJJ_2
transform 1 0 3170 0 1 378
box -158 -288 158 288
use sky130_fd_pr__nfet_01v8_46AAJJ  sky130_fd_pr__nfet_01v8_46AAJJ_3
transform 1 0 3580 0 1 378
box -158 -288 158 288
use sky130_fd_pr__nfet_01v8_TC9PLT  sky130_fd_pr__nfet_01v8_TC9PLT_4
transform 1 0 2997 0 1 378
box -73 -226 73 226
use sky130_fd_pr__nfet_01v8_TC9PLT  sky130_fd_pr__nfet_01v8_TC9PLT_5
transform 1 0 3753 0 1 378
box -73 -226 73 226
use sky130_fd_pr__nfet_01v8_TC9PLT  sky130_fd_pr__nfet_01v8_TC9PLT_6
transform 1 0 2997 0 1 1050
box -73 -226 73 226
use sky130_fd_pr__nfet_01v8_TC9PLT  sky130_fd_pr__nfet_01v8_TC9PLT_7
transform 1 0 3753 0 1 1050
box -73 -226 73 226
<< labels >>
flabel metal4 3301 1370 3301 1370 0 FreeSans 640 0 0 0 gnd
port 0 nsew
flabel metal1 3034 804 3034 804 0 FreeSans 640 0 0 0 d3
port 1 nsew
flabel metal3 3456 824 3456 824 0 FreeSans 640 0 0 0 rs
port 2 nsew
flabel metal2 3717 804 3717 804 0 FreeSans 640 0 0 0 d4
port 3 nsew
<< end >>

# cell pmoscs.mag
magic
tech sky130A
magscale 1 2
<< nwell >>
rect -232 53 767 2922
<< nsubdiff >>
rect -196 2852 -136 2886
rect 636 2852 731 2886
rect -196 2819 -162 2852
rect 697 2819 731 2852
rect -196 123 -162 149
rect 697 123 731 149
rect -196 89 -136 123
rect 636 89 731 123
<< nsubdiffcont >>
rect -136 2852 636 2886
rect -196 149 -162 2819
rect 697 149 731 2819
rect -136 89 636 123
<< poly >>
rect -111 2812 -19 2828
rect -111 2778 -95 2812
rect -61 2778 -19 2812
rect -111 2762 -19 2778
rect -49 2748 -19 2762
rect 555 2814 647 2830
rect 555 2780 597 2814
rect 631 2780 647 2814
rect 555 2764 647 2780
rect 555 2747 585 2764
rect -111 2114 -19 2130
rect 39 2129 239 2229
rect -111 2080 -95 2114
rect -61 2080 -19 2114
rect -111 2064 -19 2080
rect -49 2048 -19 2064
rect 555 2113 647 2129
rect 555 2079 597 2113
rect 631 2079 647 2113
rect 555 2063 647 2079
rect 555 2049 585 2063
rect 39 1435 497 1535
rect -49 899 -19 913
rect -111 883 -19 899
rect -111 849 -95 883
rect -61 849 -19 883
rect -111 833 -19 849
rect 555 903 585 917
rect 555 887 647 903
rect 555 853 597 887
rect 631 853 647 887
rect 296 739 497 841
rect 555 837 647 853
rect -50 211 -20 225
rect -112 195 -20 211
rect -112 161 -96 195
rect -62 161 -20 195
rect -112 145 -20 161
rect 554 211 584 225
rect 554 195 646 211
rect 554 161 596 195
rect 630 161 646 195
rect 554 145 646 161
<< polycont >>
rect -95 2778 -61 2812
rect 597 2780 631 2814
rect -95 2080 -61 2114
rect 597 2079 631 2113
rect -95 849 -61 883
rect 597 853 631 887
rect -96 161 -62 195
rect 596 161 630 195
<< locali >>
rect -196 2852 -136 2886
rect 636 2852 731 2886
rect -196 2819 -162 2852
rect 697 2819 731 2852
rect -111 2778 -95 2812
rect -61 2778 -45 2812
rect 581 2780 597 2814
rect 631 2780 647 2814
rect -95 2728 -61 2778
rect 597 2717 631 2780
rect -111 2080 -95 2114
rect -61 2080 -45 2114
rect -95 2025 -61 2080
rect 581 2079 597 2113
rect 631 2079 647 2113
rect 596 2014 631 2079
rect -95 883 -61 948
rect 597 887 631 958
rect -111 849 -95 883
rect -61 849 -45 883
rect 581 853 597 887
rect 631 853 647 887
rect -96 195 -62 262
rect 596 195 630 259
rect -112 161 -96 195
rect -62 161 -46 195
rect 580 161 596 195
rect 630 161 646 195
rect -196 123 -162 149
rect 697 123 731 149
rect -196 89 -136 123
rect 636 89 731 123
<< viali >>
rect 597 2852 631 2886
rect -95 2778 -61 2812
rect 597 2780 631 2814
rect -95 2080 -61 2114
rect 597 2079 631 2113
rect -95 849 -61 883
rect 597 853 631 887
rect -96 161 -62 195
rect 596 161 630 195
rect -96 89 -62 123
<< metal1 >>
rect 585 2886 643 2892
rect 585 2852 597 2886
rect 631 2852 643 2886
rect -107 2812 -49 2818
rect -107 2778 -95 2812
rect -61 2778 -49 2812
rect -107 2772 -49 2778
rect 585 2814 643 2852
rect 585 2780 597 2814
rect 631 2780 643 2814
rect 585 2774 643 2780
rect -101 2726 -55 2772
rect 592 2726 637 2774
rect -101 2714 33 2726
rect -114 2338 -104 2714
rect -52 2338 33 2714
rect -101 2326 33 2338
rect 244 2285 291 2726
rect 503 2345 637 2726
rect 502 2326 637 2345
rect 502 2285 549 2326
rect 244 2238 549 2285
rect -107 2114 -49 2120
rect -107 2080 -95 2114
rect -61 2080 -49 2114
rect -107 2074 -49 2080
rect -101 2032 -56 2074
rect -101 2020 27 2032
rect -101 1644 -16 2020
rect 36 1644 46 2020
rect -101 1632 27 1644
rect -7 1385 76 1419
rect -7 1338 27 1385
rect -101 1330 27 1338
rect -101 938 26 1330
rect -101 889 -55 938
rect -107 883 -49 889
rect -107 849 -95 883
rect -61 849 -49 883
rect -107 843 -49 849
rect 244 734 291 2238
rect 585 2113 643 2119
rect 585 2079 597 2113
rect 631 2079 643 2113
rect 585 2073 643 2079
rect 591 2032 637 2073
rect 503 1632 637 2032
rect 510 1584 543 1632
rect 462 1551 543 1584
rect 503 1326 630 1339
rect 490 950 500 1326
rect 552 958 630 1326
rect 552 950 637 958
rect 503 939 637 950
rect 591 893 637 939
rect 585 887 643 893
rect 585 853 597 887
rect 631 853 643 887
rect 585 847 643 853
rect -16 687 291 734
rect -16 642 31 687
rect -102 626 31 642
rect -102 242 32 626
rect 244 242 291 687
rect 508 630 632 642
rect 508 254 587 630
rect 639 254 649 630
rect -102 201 -57 242
rect 508 241 636 254
rect 591 201 636 241
rect -108 195 -50 201
rect -108 161 -96 195
rect -62 161 -50 195
rect -108 123 -50 161
rect 584 195 642 201
rect 584 161 596 195
rect 630 161 642 195
rect 584 155 642 161
rect -108 89 -96 123
rect -62 89 -50 123
rect -108 83 -50 89
<< via1 >>
rect -104 2338 -52 2714
rect -16 1644 36 2020
rect 500 950 552 1326
rect 587 254 639 630
<< metal2 >>
rect -104 2714 -52 2724
rect -104 2328 -52 2338
rect -95 2203 -61 2328
rect -95 2194 -38 2203
rect -95 2138 -94 2194
rect -95 2129 -38 2138
rect 575 2136 584 2196
rect 644 2136 653 2196
rect -95 831 -61 2129
rect -16 2020 36 2030
rect -16 1511 36 1644
rect -17 1459 551 1511
rect 500 1326 552 1459
rect 500 940 552 950
rect -108 822 -48 831
rect 596 829 631 2136
rect -108 753 -48 762
rect 572 820 631 829
rect 628 764 631 820
rect 572 755 631 764
rect 596 640 631 755
rect 587 630 639 640
rect 587 244 639 254
<< via2 >>
rect -94 2138 -38 2194
rect 584 2136 644 2196
rect -108 762 -48 822
rect 572 764 628 820
<< metal3 >>
rect -99 2196 -33 2199
rect 579 2196 649 2201
rect -99 2194 584 2196
rect -99 2138 -94 2194
rect -38 2138 584 2194
rect -99 2136 584 2138
rect 644 2136 649 2196
rect -99 2133 -33 2136
rect 579 2131 649 2136
rect -113 823 -43 827
rect 567 823 633 825
rect -113 822 633 823
rect -113 762 -108 822
rect -48 820 633 822
rect -48 764 572 820
rect 628 764 633 820
rect -48 762 633 764
rect -113 761 633 762
rect -113 757 -43 761
rect 567 759 633 761
use sky130_fd_pr__pfet_01v8_2ZH9AN  sky130_fd_pr__pfet_01v8_2ZH9AN_0
transform 1 0 -34 0 1 1832
box -109 -262 109 262
use sky130_fd_pr__pfet_01v8_2ZH9AN  sky130_fd_pr__pfet_01v8_2ZH9AN_1
transform 1 0 -35 0 1 442
box -109 -262 109 262
use sky130_fd_pr__pfet_01v8_2ZH9AN  sky130_fd_pr__pfet_01v8_2ZH9AN_2
transform 1 0 569 0 1 442
box -109 -262 109 262
use sky130_fd_pr__pfet_01v8_2ZH9AN  sky130_fd_pr__pfet_01v8_2ZH9AN_3
transform 1 0 -34 0 1 1138
box -109 -262 109 262
use sky130_fd_pr__pfet_01v8_2ZH9AN  sky130_fd_pr__pfet_01v8_2ZH9AN_4
transform 1 0 570 0 1 1138
box -109 -262 109 262
use sky130_fd_pr__pfet_01v8_2ZH9AN  sky130_fd_pr__pfet_01v8_2ZH9AN_5
transform 1 0 570 0 1 1832
box -109 -262 109 262
use sky130_fd_pr__pfet_01v8_2ZH9AN  sky130_fd_pr__pfet_01v8_2ZH9AN_6
transform 1 0 570 0 1 2526
box -109 -262 109 262
use sky130_fd_pr__pfet_01v8_2ZH9AN  sky130_fd_pr__pfet_01v8_2ZH9AN_7
transform 1 0 -34 0 1 2526
box -109 -262 109 262
use sky130_fd_pr__pfet_01v8_SDE6B7  sky130_fd_pr__pfet_01v8_SDE6B7_0
transform 1 0 268 0 1 2526
box -323 -300 323 300
use sky130_fd_pr__pfet_01v8_SDE6B7  sky130_fd_pr__pfet_01v8_SDE6B7_1
transform 1 0 268 0 1 1832
box -323 -300 323 300
use sky130_fd_pr__pfet_01v8_SDE6B7  sky130_fd_pr__pfet_01v8_SDE6B7_2
transform 1 0 268 0 1 1138
box -323 -300 323 300
use sky130_fd_pr__pfet_01v8_SDE6B7  sky130_fd_pr__pfet_01v8_SDE6B7_3
transform 1 0 267 0 1 442
box -323 -300 323 300
<< labels >>
flabel metal2 617 1375 617 1375 0 FreeSans 1600 0 0 0 d5
port 3 nsew
flabel metal1 522 1586 522 1586 0 FreeSans 1600 0 0 0 d2
port 2 nsew
flabel metal2 14 1573 14 1573 0 FreeSans 1600 0 0 0 d1
port 1 nsew
flabel metal1 610 2840 610 2840 0 FreeSans 1600 0 0 0 vdd
port 0 nsew
<< end >>

# cell sky130_fd_pr__pfet_01v8_2ZH9AN: kit device sky130_fd_pr__pfet_01v8, w 2 l 0.15 m 1 nf 1 diffcov 100 polycov 100 guard 0 glc 1 grc 1 gtc 1 gbc 1 tbcov 100 rlcov 100 topc 0 botc 0 poverlap 0 doverlap 1 lmin 0.15 wmin 0.42 compatible {sky130_fd_pr__pfet_01v8 sky130_fd_pr__pfet_01v8_lvt sky130_fd_pr__pfet_01v8_hvt sky130_fd_pr__pfet_g5v0d10v5} full_metal 1 viasrc 100 viadrn 100 viagate 100 viagb 0 viagr 0 viagl 0 viagt 0

# cell sky130_fd_pr__pfet_01v8_SDE6B7: kit device sky130_fd_pr__pfet_01v8, w 2 l 1 m 1 nf 2 diffcov 100 polycov 100 guard 0 glc 1 grc 1 gtc 1 gbc 1 tbcov 100 rlcov 100 topc 1 botc 1 poverlap 0 doverlap 1 lmin 0.15 wmin 0.42 compatible {sky130_fd_pr__pfet_01v8 sky130_fd_pr__pfet_01v8_lvt sky130_fd_pr__pfet_01v8_hvt sky130_fd_pr__pfet_g5v0d10v5} full_metal 1 viasrc 100 viadrn 100 viagate 70 viagb 0 viagr 0 viagl 0 viagt 0

# cell sky130_fd_pr__nfet_01v8_46AAJJ: kit device sky130_fd_pr__nfet_01v8, w 2 l 1 m 1 nf 1 diffcov 100 polycov 100 guard 0 glc 1 grc 1 gtc 1 gbc 1 tbcov 100 rlcov 100 topc 1 botc 1 poverlap 0 doverlap 1 lmin 0.15 wmin 0.42 compatible {sky130_fd_pr__nfet_01v8 sky130_fd_pr__nfet_01v8_lvt sky130_fd_bs_flash__special_sonosfet_star sky130_fd_pr__nfet_g5v0d10v5 sky130_fd_pr__nfet_05v0_nvt sky130_fd_pr__nfet_03v3_nvt} full_metal 1 viasrc 100 viadrn 100 viagate 70 viagb 0 viagr 0 viagl 0 viagt 0

# cell sky130_fd_pr__nfet_01v8_TC9PLT: kit device sky130_fd_pr__nfet_01v8, w 2 l 0.150 m 1 nf 1 diffcov 100 polycov 100 guard 0 glc 1 grc 1 gtc 1 gbc 1 tbcov 100 rlcov 100 topc 0 botc 0 poverlap 0 doverlap 1 lmin 0.15 wmin 0.42 compatible {sky130_fd_pr__nfet_01v8 sky130_fd_pr__nfet_01v8_lvt sky130_fd_bs_flash__special_sonosfet_star sky130_fd_pr__nfet_g5v0d10v5 sky130_fd_pr__nfet_05v0_nvt sky130_fd_pr__nfet_03v3_nvt} full_metal 1 viasrc 100 viadrn 100 viagate 100 viagb 0 viagr 0 viagl 0 viagt 0

# cell sky130_fd_pr__pfet_01v8_2XUZHN: kit device sky130_fd_pr__pfet_01v8, w 1 l 0.15 m 1 nf 1 diffcov 100 polycov 100 guard 0 glc 1 grc 1 gtc 1 gbc 1 tbcov 100 rlcov 100 topc 0 botc 0 poverlap 0 doverlap 1 lmin 0.15 wmin 0.42 compatible {sky130_fd_pr__pfet_01v8 sky130_fd_pr__pfet_01v8_lvt sky130_fd_pr__pfet_01v8_hvt sky130_fd_pr__pfet_g5v0d10v5} full_metal 1 viasrc 100 viadrn 100 viagate 100 viagb 0 viagr 0 viagl 0 viagt 0

# cell sky130_fd_pr__pfet_01v8_V8A8AU: kit device sky130_fd_pr__pfet_01v8, w 1 l 0.5 m 2 nf 4 diffcov 100 polycov 100 guard 0 glc 1 grc 1 gtc 1 gbc 1 tbcov 100 rlcov 100 topc 1 botc 1 poverlap 0 doverlap 0 lmin 0.15 wmin 0.42 compatible {sky130_fd_pr__pfet_01v8 sky130_fd_pr__pfet_01v8_lvt sky130_fd_pr__pfet_01v8_hvt sky130_fd_pr__pfet_g5v0d10v5} full_metal 1 viasrc 100 viadrn 100 viagate 50 viagb 0 viagr 0 viagl 0 viagt 0

# cell sky130_fd_pr__nfet_01v8_9C8FNP: kit device sky130_fd_pr__nfet_01v8, w 1 l 0.8 m 2 nf 4 diffcov 100 polycov 100 guard 0 glc 1 grc 1 gtc 1 gbc 1 tbcov 100 rlcov 100 topc 1 botc 1 poverlap 0 doverlap 0 lmin 0.15 wmin 0.42 compatible {sky130_fd_pr__nfet_01v8 sky130_fd_pr__nfet_01v8_lvt sky130_fd_bs_flash__special_sonosfet_star sky130_fd_pr__nfet_g5v0d10v5 sky130_fd_pr__nfet_05v0_nvt sky130_fd_pr__nfet_03v3_nvt} full_metal 1 viasrc 100 viadrn 100 viagate 70 viagb 0 viagr 0 viagl 0 viagt 0

# cell sky130_fd_pr__nfet_01v8_ENL4VF: kit device sky130_fd_pr__nfet_01v8, w 1 l 0.8 m 1 nf 1 diffcov 100 polycov 100 guard 0 glc 1 grc 1 gtc 1 gbc 1 tbcov 100 rlcov 100 topc 0 botc 0 poverlap 0 doverlap 1 lmin 0.15 wmin 0.42 compatible {sky130_fd_pr__nfet_01v8 sky130_fd_pr__nfet_01v8_lvt sky130_fd_bs_flash__special_sonosfet_star sky130_fd_pr__nfet_g5v0d10v5 sky130_fd_pr__nfet_05v0_nvt sky130_fd_pr__nfet_03v3_nvt} full_metal 1 viasrc 100 viadrn 100 viagate 70 viagb 0 viagr 0 viagl 0 viagt 0
